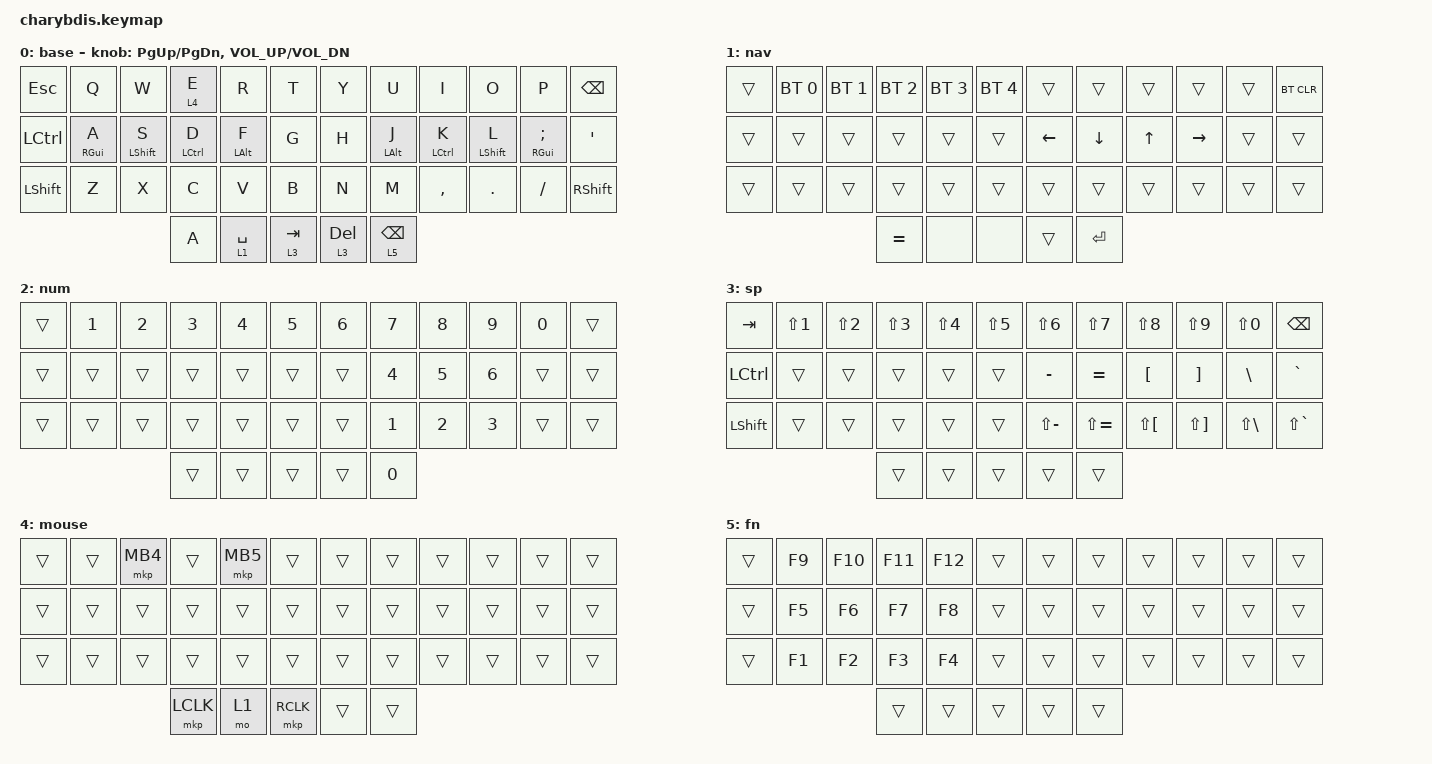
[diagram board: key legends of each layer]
#include <behaviors.dtsi>
#include <dt-bindings/zmk/bt.h>
#include <dt-bindings/zmk/keys.h>
#include <dt-bindings/zmk/pointing.h>
#include <dt-bindings/zmk/rgb.h>

&lt {
    tapping-term-ms = <200>;
    flavor = "balanced";
    quick-tap-ms = <80>;
};

/ {
    macros {
        To1_macro: To1_macro {
            compatible = "zmk,behavior-macro";
            label = "To1_macro";
            #binding-cells = <0>;
            bindings = <&rgb_ug RGB_EFF &rgb_ug RGB_COLOR_HSB(128,100,50) &to 1>;
        };

        To0_macro: To0_macro {
            compatible = "zmk,behavior-macro";
            label = "To0_macro";
            #binding-cells = <0>;
            bindings = <&rgb_ug RGB_EFR &to 0>;
        };

        To2_macro: To2_macro {
            compatible = "zmk,behavior-macro";
            label = "To2_macro";
            #binding-cells = <0>;
            bindings =
                <&to 0>,
                <&macro_wait_time 30>,
                <&rgb_ug RGB_COLOR_HSB(250,100,50)>;
        };
    };

    combos {
        compatible = "zmk,combos";

        hangeul {
            bindings = <&kp RALT>;
            key-positions = <32 33>;
        };

        home {
            bindings = <&kp HOME>;
            key-positions = <15 16>;
        };

        end {
            bindings = <&kp END>;
            key-positions = <19 20>;
        };

        nav {
            bindings = <&mo 2>;
            key-positions = <37 39>;
        };
    };

    behaviors {
        hm: hm {
            compatible = "zmk,behavior-hold-tap";
            label = "HM";
            bindings = <&kp>, <&kp>;

            #binding-cells = <2>;
            tapping-term-ms = <200>;
            quick-tap-ms = <130>;
            flavor = "tap-preferred";
            retro-tap;
        };

        cpx: cpx {
            compatible = "zmk,behavior-tap-dance";
            label = "CPX";
            #binding-cells = <0>;
            bindings = <&kp LC(C)>, <&kp LC(X)>;
        };

        layer2to3: layer2to3 {
            compatible = "zmk,behavior-tap-dance";
            label = "LAYER2TO3";
            #binding-cells = <0>;
            bindings = <&mo 3>, <&mo 2>, <&mo 0>;
        };
    };

    keymap {
        compatible = "zmk,keymap";

        base {
            bindings = <
&kp ESC         &kp Q       &kp W             &lt 4 E             &kp R           &kp T        &kp Y      &kp U            &kp I        &kp O             &kp P               &kp BACKSPACE
&kp LCTRL       &hm RGUI A  &hm LEFT_SHIFT S  &hm LEFT_CONTROL D  &hm LEFT_ALT F  &kp G        &kp H      &hm LEFT_ALT J   &hm LCTRL K  &hm LEFT_SHIFT L  &hm RGUI SEMICOLON  &kp SQT
&kp LEFT_SHIFT  &kp Z       &kp X             &kp C               &kp V           &kp B        &kp N      &kp M            &kp COMMA    &kp PERIOD        &kp SLASH           &kp RSHIFT
                                              &kp A               &lt 1 SPACE     &lt 3 TAB    &lt 3 DEL  &lt 5 BACKSPACE
            >;

            sensor-bindings = <&inc_dec_kp PG_UP PG_DN &inc_dec_kp C_VOL_UP C_VOL_DN>;
        };

        nav {
            bindings = <
&trans  &bt BT_SEL 0  &bt BT_SEL 1  &bt BT_SEL 2  &bt BT_SEL 3  &bt BT_SEL 4    &trans    &trans     &trans  &trans     &trans  &bt BT_CLR
&trans  &trans        &trans        &trans        &trans        &trans          &kp LEFT  &kp DOWN   &kp UP  &kp RIGHT  &trans  &trans
&trans  &trans        &trans        &trans        &trans        &trans          &trans    &trans     &trans  &trans     &trans  &trans
                                    &kp EQUAL     &none         &none           &trans    &kp ENTER
            >;
        };

        num {
            bindings = <
&trans  &kp N1  &kp N2  &kp N3  &kp N4  &kp N5    &kp N6  &kp N7  &kp N8  &kp N9  &kp N0  &trans
&trans  &trans  &trans  &trans  &trans  &trans    &trans  &kp N4  &kp N5  &kp N6  &trans  &trans
&trans  &trans  &trans  &trans  &trans  &trans    &trans  &kp N1  &kp N2  &kp N3  &trans  &trans
                        &trans  &trans  &trans    &trans  &kp N0
            >;
        };

        sp {
            bindings = <
&kp TAB           &kp LS(NUMBER_1)  &kp LS(NUMBER_2)  &kp LS(NUMBER_3)  &kp LS(NUMBER_4)  &kp LS(NUMBER_5)    &kp LS(NUMBER_6)  &kp LS(NUMBER_7)  &kp LS(NUMBER_8)      &kp LS(NUMBER_9)       &kp LS(NUMBER_0)   &kp BACKSPACE
&kp LEFT_CONTROL  &trans            &trans            &trans            &trans            &trans              &kp MINUS         &kp EQUAL         &kp LEFT_BRACKET      &kp RIGHT_BRACKET      &kp BACKSLASH      &kp GRAVE
&kp LSHIFT        &trans            &trans            &trans            &trans            &trans              &kp LS(MINUS)     &kp LS(EQUAL)     &kp LS(LEFT_BRACKET)  &kp LS(RIGHT_BRACKET)  &kp LS(BACKSLASH)  &kp LS(GRAVE)
                                                      &trans            &trans            &trans              &trans            &trans
            >;
        };

        mouse {
            bindings = <
&trans  &trans  &mkp MB4  &trans     &mkp MB5  &trans       &trans  &trans  &trans  &trans  &trans  &trans
&trans  &trans  &trans    &trans     &trans    &trans       &trans  &trans  &trans  &trans  &trans  &trans
&trans  &trans  &trans    &trans     &trans    &trans       &trans  &trans  &trans  &trans  &trans  &trans
                          &mkp LCLK  &mo 1     &mkp RCLK    &trans  &trans
            >;
        };

        fn {
            bindings = <
&trans  &kp F9  &kp F10  &kp F11  &kp F12  &trans    &trans  &trans  &trans  &trans  &trans  &trans
&trans  &kp F5  &kp F6   &kp F7   &kp F8   &trans    &trans  &trans  &trans  &trans  &trans  &trans
&trans  &kp F1  &kp F2   &kp F3   &kp F4   &trans    &trans  &trans  &trans  &trans  &trans  &trans
                         &trans   &trans   &trans    &trans  &trans
            >;
        };

        /* layer_2 {
            bindings = <
&none  &none   &none    &none   &none         &none         &kp N1         &none         &none     &none  &none   &to 0
&none  &none   &none    &none   &none         &none         &none         &none          &rgb_ug RGB_BRD &rgb_ug RGB_BRI  &rgb_ug RGB_EFF   &rgb_ug RGB_TOG
&none  &none   &none    &none   &none         &none         &none         &mkp LCLK     &mkp RCLK  &none  &none   &none
&none  &none   &none    &none   &bt BT_NXT  &bt BT_CLR    &none         &none         &none     &none  &none   &none
                                   &none         &none         &none         &none         &none
                                                 &none         &none         &none
            >;
       
            
        };

       Mouse {
            bindings = <
&none        &none         &none         &none         &none      &none         &none       &none      &none         &none         &none         &none
&none        &bt BT_SEL 0  &bt BT_SEL 1  &bt BT_SEL 3  &none      &bt BT_CLR    &bt BT_CLR  &none      &bt BT_SEL 2  &bt BT_SEL 1  &bt BT_SEL 0  &none
&none        &trans        &trans        &mkp MCLK     &trans     &none         &none       &trans     &mkp MCLK     &trans        &trans        &none
&bootloader  &trans        &mkp RCLK     &mo 4         &mkp LCLK  &mo 5         &mo 5       &mkp LCLK  &mo 4         &mkp RCLK     &trans        &bootloader
                                         &mo 5         &mkp LCLK  &mkp RCLK     &mkp RCLK   &mkp LCLK
                                                       &none      &trans        &trans
            >;

            
        };

        layer_4 {
            bindings = <
&trans  &trans  &trans     &trans     &trans     &trans       &trans     &trans     &trans     &trans     &trans  &trans
&trans  &trans  &trans     &trans     &trans     &trans       &trans     &trans     &trans     &trans     &trans  &trans
&trans  &trans  &trans     &mkp MCLK  &trans     &trans       &trans     &trans     &mkp MCLK  &trans     &trans  &trans
&trans  &trans  &mkp RCLK  &trans     &mkp LCLK  &trans       &trans     &mkp LCLK  &trans     &mkp RCLK  &trans  &trans
                           &trans     &mkp LCLK  &mkp RCLK    &mkp RCLK  &mkp LCLK
                                      &trans     &trans       &trans
            >;
                
                
               
        };

        layer_5 {
            bindings = <
&trans  &trans  &trans     &trans     &trans     &trans       &trans     &trans     &trans     &trans     &trans  &trans
&trans  &trans  &trans     &trans     &trans     &trans       &trans     &trans     &trans     &trans     &trans  &trans
&trans  &trans  &trans     &mkp MCLK  &trans     &trans       &trans     &trans     &mkp MCLK  &trans     &trans  &trans
&trans  &trans  &mkp RCLK  &trans     &mkp LCLK  &trans       &trans     &mkp LCLK  &trans     &mkp RCLK  &trans  &trans
                           &trans     &mkp LCLK  &mkp RCLK    &mkp RCLK  &mkp LCLK
                                      &trans     &trans       &trans
            >;
                
                
        };*/
    };
};
